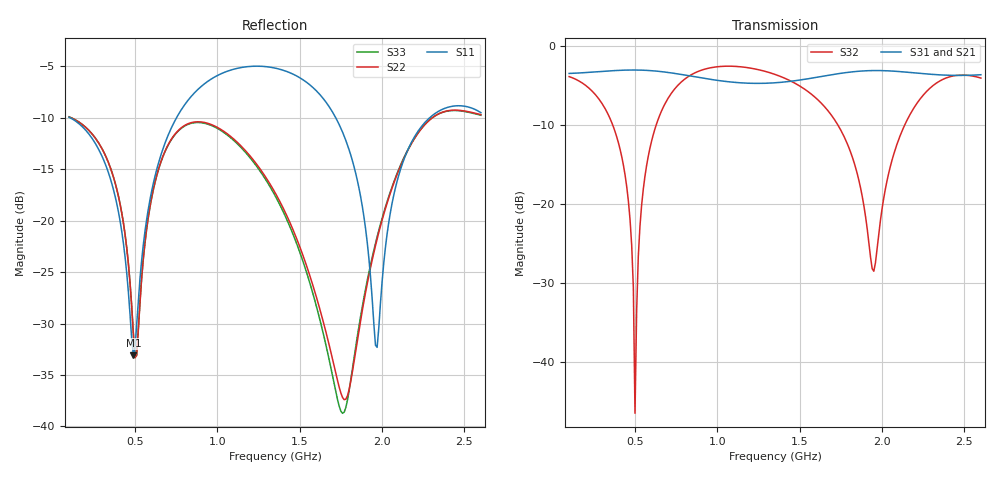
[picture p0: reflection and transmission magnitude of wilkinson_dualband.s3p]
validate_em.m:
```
%% Validation: lossless MATLAB model vs. HFSS full-wave simulation
% Reads the 3-port Touchstone file exported by HFSS (em/wilkinson_dualband.s3p,
% produced by em/build_hfss.py) with a built-in parser -- no RF Toolbox needed --
% overlays it on the closed-form lossless model (wilkinson_model.m), saves the
% figures to report_assets/, and prints the comparison table used in the report.
clear; clc; close all;
EM_FILE = fullfile('em', 'wilkinson_dualband.s3p');
OUT     = 'report_assets';

Z0 = 50; f1 = 500e6; k = 4; Zo_n = 1.12;
f = linspace(0.1e9, 2.6e9, 2001);
[design, f, S] = wilkinson_model(f1, k, Zo_n, Z0, f);

if ~isfile(EM_FILE)
    error('EM results "%s" not found. Run em/build_hfss.py in HFSS first.', EM_FILE);
end
[f_em, Sem] = read_s3p(EM_FILE);
dB = @(x) 20*log10(abs(x));

plots = { 'S11', S.S11, squeeze(Sem(1,1,:)), 'Input return loss S_{11}',  [-50 0];
          'S21', S.S21, squeeze(Sem(2,1,:)), 'Transmission S_{21}',       [-6 -2.5];
          'S22', S.S22, squeeze(Sem(2,2,:)), 'Output return loss S_{22}', [-50 0];
          'S23', S.S23, squeeze(Sem(3,2,:)), 'Isolation S_{32}',          [-50 0] };
for n = 1:size(plots,1)
    fig = figure('Name', ['Validation: ' plots{n,1}]);
    plot(f/1e9, dB(plots{n,2}), 'b-', f_em/1e9, dB(plots{n,3}), 'r--', 'LineWidth', 1.5);
    if strcmp(plots{n,1}, 'S21')
        hold on; plot(f_em/1e9, dB(squeeze(Sem(3,1,:))), 'r:', 'LineWidth', 1.2);
        legend('MATLAB (lossless)', 'HFSS S_{21}', 'HFSS S_{31}', 'Location', 'southwest');
    else
        legend('MATLAB (lossless)', 'HFSS', 'Location', 'southeast');
    end
    xline([0.5 2.0], ':', 'Color', [0.6 0.6 0.6], 'HandleVisibility', 'off');
    ylim(plots{n,5}); grid on;
    xlabel('Frequency (GHz)'); ylabel('Magnitude (dB)'); title(plots{n,4});
    exportgraphics(fig, fullfile(OUT, ['val_' lower(plots{n,1}) '_matlab.png']), 'Resolution', 160);
end

% ---- comparison table at the two design frequencies
names = {'S11','S21','S31','S22','S33','S23'};
idx   = [1 1; 2 1; 3 1; 2 2; 3 3; 3 2];
mdl   = {S.S11, S.S21, S.S31, S.S22, S.S33, S.S23};
fprintf('%-8s %5s |', 'source', 'f/GHz'); fprintf(' %7s', names{:}); fprintf('\n');
for fx = [design.f1 design.f2]
    [~, i] = min(abs(f - fx)); [~, j] = min(abs(f_em - fx));
    fprintf('%-8s %5.2f |', 'MATLAB', fx/1e9);
    for m = 1:6, fprintf(' %7.2f', dB(mdl{m}(i))); end; fprintf('\n');
    fprintf('%-8s %5.2f |', 'HFSS', fx/1e9);
    for m = 1:6, fprintf(' %7.2f', dB(Sem(idx(m,1), idx(m,2), j))); end; fprintf('\n');
end

function [f, S] = read_s3p(file)
% Minimal Touchstone v1 reader for 3-port files (MA / DB / RI, any freq unit).
    txt = fileread(file); lines = regexp(txt, '\r?\n', 'split');
    mul = 1e9; fmt = 'MA'; nums = [];
    units = struct('hz', 1, 'khz', 1e3, 'mhz', 1e6, 'ghz', 1e9);
    for n = 1:numel(lines)
        L = strtrim(regexprep(lines{n}, '!.*$', ''));
        if isempty(L), continue; end
        if L(1) == '#'
            tok = strsplit(lower(strtrim(L(2:end))));
            mul = units.(tok{1}); fmt = upper(tok{3}); continue;
        end
        nums = [nums, sscanf(L, '%f').']; %#ok<AGROW>
    end
    a = reshape(nums, 19, []).';
    f = a(:,1) * mul;
    v1 = a(:, 2:2:end); v2 = a(:, 3:2:end);
    switch fmt
        case 'MA', z = v1 .* exp(1i*deg2rad(v2));
        case 'DB', z = 10.^(v1/20) .* exp(1i*deg2rad(v2));
        otherwise, z = v1 + 1i*v2;
    end
    % Touchstone 3-port rows are S11 S12 S13 / S21 S22 S23 / S31 S32 S33
    S = zeros(3, 3, numel(f));
    for r = 1:3
        for c = 1:3
            S(r, c, :) = z(:, (r-1)*3 + c);
        end
    end
end
```
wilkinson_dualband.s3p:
! Touchstone file exported from HFSS 2025.2.4
!  File:  C:/Users/Karthik/Documents/yash/MCD-Project/em/wilkinson_dualband.aedt
!  Generated:  12:59:26 PM Nov 24, 2026
!  Design:  Wilkinson
!  Project:  wilkinson_dualband
! Variables:
!  Cs = 2.934pF
!  L1 = 42.97mm
!  Lc = 44.873mm
!  Lf = 10mm
!  Lv = 8.634nH
!  Lx = 12mm
!  Ly = 6mm
!  Rv = 100ohm
!  Sc = 0.48mm
!  W1 = 4.831mm
!  W50 = 2.46mm
!  Wc = 1.44mm
!  h = 0.8mm
!  t_isl = 0.16mm
# GHz S MA R 50.000000
! Terminal data exported
! Port[1] = P1
! Port[2] = P2
! Port[3] = P3
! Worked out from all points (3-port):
!   251 points, 100 MHz to 2.6 GHz, reference 50 ohm
!   strongest paths, dB at 100 MHz, 720 MHz, 1.35 GHz, 1.98 GHz, 2.6 GHz:
!     S31: -3.5, -3.4, -4.7, -3.1, -3.7
!     S21: -3.5, -3.4, -4.7, -3.1, -3.7
!     S32: -3.9, -6.0, -3.6, -23.8, -4.1
!   lowest |S11| = -33.1 dB at 490 MHz (marker M1), VSWR 1.05, Z = 47.8 + j0.247 ohm
!   |S11| at or under -10 dB: 104.2 MHz to 752.6 MHz (648.4 MHz wide, 151 % of centre); 1.718 GHz to 2.29 GHz (571.8 MHz wide, 28.5 % of centre)
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0.1  0.3175 163.7  0.6689 -18.4  0.6689 -18.4
     0.6689 -18.4  0.3188 160.8  0.639 -19.8
     0.6689 -18.4  0.639 -19.8  0.3188 160.8
0.49  0.02218 173.3  0.7032 -95.0  0.7033 -95.0
      0.7032 -95.0  0.02811 114.9  0.02973 -103.4
      0.7033 -95.0  0.02973 -103.4  0.02841 114.3
1.46  0.5139 103.9  0.5982 87.6  0.5996 87.5
      0.5982 87.6  0.09001 35.7  0.5885 -113.5
      0.5996 87.5  0.5885 -113.5  0.08558 34.5
1.97  0.02422 -92.6  0.6975 -12.2  0.6979 -12.4
      0.6975 -12.2  0.08136 -135.2  0.05242 31.4
      0.6979 -12.4  0.05242 31.4  0.08342 -136.7
2.6  0.3342 72.2  0.6556 -132.7  0.6566 -132.9
     0.6556 -132.7  0.327 61.4  0.6255 -138.2
     0.6566 -132.9  0.6255 -138.2  0.3247 61.2
